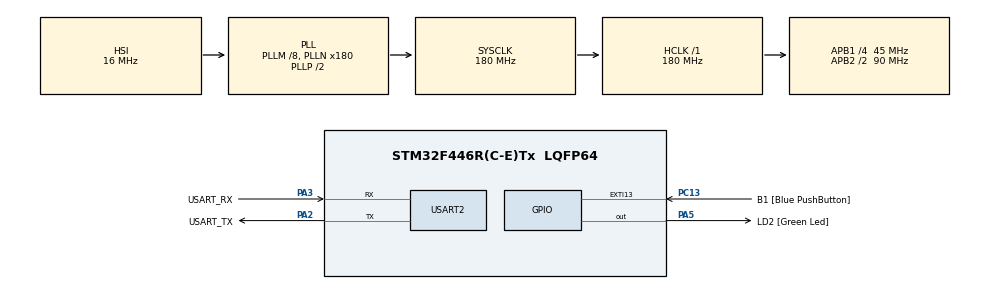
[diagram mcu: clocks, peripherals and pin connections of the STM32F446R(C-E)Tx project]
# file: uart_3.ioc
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Mcu.Family=STM32F4
Mcu.Name=STM32F446R(C-E)Tx
Mcu.Package=LQFP64
NVIC.PriorityGroup=NVIC_PRIORITYGROUP_0
NVIC.USART2_IRQn=true\:0\:0\:false\:false\:true\:true\:true\:true
PA13.GPIO_Label=TMS
PA13.Mode=Serial_Wire
PA13.Signal=SYS_JTMS-SWDIO
PA14.GPIO_Label=TCK
PA14.Mode=Serial_Wire
PA14.Signal=SYS_JTCK-SWCLK
PA2.GPIO_Label=USART_TX
PA2.Mode=Asynchronous
PA2.Signal=USART2_TX
PA3.GPIO_Label=USART_RX
PA3.Mode=Asynchronous
PA3.Signal=USART2_RX
PA5.GPIO_Label=LD2 [Green Led]
PA5.Signal=GPIO_Output
PB3.GPIO_Label=SWO
PB3.Signal=SYS_JTDO-SWO
PC13.GPIO_Label=B1 [Blue PushButton]
PC13.GPIO_ModeDefaultEXTI=GPIO_MODE_IT_FALLING
PC13.Signal=GPXTI13
PC14-OSC32_IN.Mode=LSE-External-Oscillator
PC14-OSC32_IN.Signal=RCC_OSC32_IN
PC15-OSC32_OUT.Mode=LSE-External-Oscillator
PC15-OSC32_OUT.Signal=RCC_OSC32_OUT
PH0-OSC_IN.Mode=HSE-External-Oscillator
PH0-OSC_IN.Signal=RCC_OSC_IN
PH1-OSC_OUT.Mode=HSE-External-Oscillator
PH1-OSC_OUT.Signal=RCC_OSC_OUT
ProjectManager.HeapSize=0x200
ProjectManager.StackSize=0x400
ProjectManager.TargetToolchain=STM32CubeIDE
RCC.48MHZClocksFreq_Value=84000000
RCC.AHBFreq_Value=180000000
RCC.APB1CLKDivider=RCC_HCLK_DIV4
RCC.APB1Freq_Value=45000000
RCC.APB1TimFreq_Value=90000000
RCC.APB2CLKDivider=RCC_HCLK_DIV2
RCC.APB2Freq_Value=90000000
RCC.APB2TimFreq_Value=180000000
RCC.CortexFreq_Value=180000000
RCC.FLatency-AdvancedSettings=FLASH_LATENCY_5
RCC.HCLKFreq_Value=180000000
RCC.HSE_VALUE=8000000
RCC.HSI_VALUE=16000000
RCC.PLLM=8
RCC.PLLN=180
RCC.SYSCLKFreq_VALUE=180000000
RCC.SYSCLKSource=RCC_SYSCLKSOURCE_PLLCLK
RCC.USBFreq_Value=180000000
RCC.VCOOutputFreq_Value=360000000
USART2.VirtualMode=VM_ASYNC
board=NUCLEO-F446RE

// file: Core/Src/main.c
/* USER CODE BEGIN Header */
/**
  ******************************************************************************
  * @file           : main.c
  * @brief          : Main program body
  ******************************************************************************
  * @attention
  *
  * Copyright (c) 2023 STMicroelectronics.
  * All rights reserved.
  *
  * This software is licensed under terms that can be found in the LICENSE file
  * in the root directory of this software component.
  * If no LICENSE file comes with this software, it is provided AS-IS.
  *
  ******************************************************************************
  */
/* USER CODE END Header */
#include "main.h"

UART_HandleTypeDef huart2;

void SystemClock_Config(void);
static void MX_GPIO_Init(void);
static void MX_USART2_UART_Init(void);

/* USER CODE BEGIN 0 */
int gUartReceived = 0;
//char buffer[256];
#define BUFF_SIZE  (256)
//uint16_t rcvLength;             /* 受信データ数 */
uint8_t rcvBuffer[2];   /* 受信バッファ */
uint8_t count =0;
//uint8_t sndBuffer[BUFF_SIZE];
//#define CHAR_CR  (0x0d)
/* USER CODE END 0 */

int main(void)
{

  /* MCU Configuration--------------------------------------------------------*/

  /* Reset of all peripherals, Initializes the Flash interface and the Systick. */
  HAL_Init();

  /* Configure the system clock */
  SystemClock_Config();

  /* Initialize all configured peripherals */
  MX_GPIO_Init();
  MX_USART2_UART_Init();
  /* USER CODE BEGIN 2 */
  HAL_UART_Receive_IT(&huart2, rcvBuffer, 2);

  HAL_GPIO_TogglePin(GPIOA,GPIO_PIN_5); //setup-check
  HAL_Delay(100);
  HAL_GPIO_TogglePin(GPIOA,GPIO_PIN_5);

  /* USER CODE END 2 */

  /* Infinite loop */
  /* USER CODE BEGIN WHILE */
  while (1){
	  HAL_UART_Receive_IT(&huart2, rcvBuffer, 2);
	  	while (gUartReceived  == 0)
	      {
	  		;
	      }
	  	//rcvBuffer[0] = '5'; //test code
	  	count = rcvBuffer[1] - '0';
	  	//count = 10; //test code

		for(uint8_t q = 0 ; q < count ; q++){
			HAL_GPIO_TogglePin(GPIOA,GPIO_PIN_5);
			HAL_Delay(100);
			HAL_GPIO_TogglePin(GPIOA,GPIO_PIN_5);
			HAL_Delay(100);
		}
		HAL_UART_Receive_IT(&huart2, rcvBuffer, 2);
	  	gUartReceived  = 0;

    /* USER CODE END WHILE */

    /* USER CODE BEGIN 3 */
	  	/*
	  	for (int i = 0;i < 256;i++){
	  		buffer[0] = clear_val; //バッファをクリア...?
	  	}
	  	*/
  }
  /* USER CODE END 3 */
}

void SystemClock_Config(void)
{
  RCC_OscInitTypeDef RCC_OscInitStruct = {0};
  RCC_ClkInitTypeDef RCC_ClkInitStruct = {0};

  /** Configure the main internal regulator output voltage
  */
  __HAL_RCC_PWR_CLK_ENABLE();
  __HAL_PWR_VOLTAGESCALING_CONFIG(PWR_REGULATOR_VOLTAGE_SCALE1);

  /** Initializes the RCC Oscillators according to the specified parameters
  * in the RCC_OscInitTypeDef structure.
  */
  RCC_OscInitStruct.OscillatorType = RCC_OSCILLATORTYPE_HSI;
  RCC_OscInitStruct.HSIState = RCC_HSI_ON;
  RCC_OscInitStruct.HSICalibrationValue = RCC_HSICALIBRATION_DEFAULT;
  RCC_OscInitStruct.PLL.PLLState = RCC_PLL_ON;
  RCC_OscInitStruct.PLL.PLLSource = RCC_PLLSOURCE_HSI;
  RCC_OscInitStruct.PLL.PLLM = 8;
  RCC_OscInitStruct.PLL.PLLN = 180;
  RCC_OscInitStruct.PLL.PLLP = RCC_PLLP_DIV2;
  RCC_OscInitStruct.PLL.PLLQ = 2;
  RCC_OscInitStruct.PLL.PLLR = 2;
  if (HAL_RCC_OscConfig(&RCC_OscInitStruct) != HAL_OK)
  {
    Error_Handler();
  }

  /** Activate the Over-Drive mode
  */
  if (HAL_PWREx_EnableOverDrive() != HAL_OK)
  {
    Error_Handler();
  }

  /** Initializes the CPU, AHB and APB buses clocks
  */
  RCC_ClkInitStruct.ClockType = RCC_CLOCKTYPE_HCLK|RCC_CLOCKTYPE_SYSCLK
                              |RCC_CLOCKTYPE_PCLK1|RCC_CLOCKTYPE_PCLK2;
  RCC_ClkInitStruct.SYSCLKSource = RCC_SYSCLKSOURCE_PLLCLK;
  RCC_ClkInitStruct.AHBCLKDivider = RCC_SYSCLK_DIV1;
  RCC_ClkInitStruct.APB1CLKDivider = RCC_HCLK_DIV4;
  RCC_ClkInitStruct.APB2CLKDivider = RCC_HCLK_DIV2;

  if (HAL_RCC_ClockConfig(&RCC_ClkInitStruct, FLASH_LATENCY_5) != HAL_OK)
  {
    Error_Handler();
  }
}

static void MX_USART2_UART_Init(void)
{

  huart2.Instance = USART2;
  huart2.Init.BaudRate = 115200;
  huart2.Init.WordLength = UART_WORDLENGTH_8B;
  huart2.Init.StopBits = UART_STOPBITS_1;
  huart2.Init.Parity = UART_PARITY_NONE;
  huart2.Init.Mode = UART_MODE_TX_RX;
  huart2.Init.HwFlowCtl = UART_HWCONTROL_NONE;
  huart2.Init.OverSampling = UART_OVERSAMPLING_16;
  if (HAL_UART_Init(&huart2) != HAL_OK)
  {
    Error_Handler();
  }

}

static void MX_GPIO_Init(void)
{
  GPIO_InitTypeDef GPIO_InitStruct = {0};

  /* GPIO Ports Clock Enable */
  __HAL_RCC_GPIOC_CLK_ENABLE();
  __HAL_RCC_GPIOH_CLK_ENABLE();
  __HAL_RCC_GPIOA_CLK_ENABLE();
  __HAL_RCC_GPIOB_CLK_ENABLE();

  /*Configure GPIO pin Output Level */
  HAL_GPIO_WritePin(LD2_GPIO_Port, LD2_Pin, GPIO_PIN_RESET);

  /*Configure GPIO pin : B1_Pin */
  GPIO_InitStruct.Pin = B1_Pin;
  GPIO_InitStruct.Mode = GPIO_MODE_IT_FALLING;
  GPIO_InitStruct.Pull = GPIO_NOPULL;
  HAL_GPIO_Init(B1_GPIO_Port, &GPIO_InitStruct);

  /*Configure GPIO pin : LD2_Pin */
  GPIO_InitStruct.Pin = LD2_Pin;
  GPIO_InitStruct.Mode = GPIO_MODE_OUTPUT_PP;
  GPIO_InitStruct.Pull = GPIO_NOPULL;
  GPIO_InitStruct.Speed = GPIO_SPEED_FREQ_LOW;
  HAL_GPIO_Init(LD2_GPIO_Port, &GPIO_InitStruct);

}

/* USER CODE BEGIN 4 */
void HAL_UART_RxCpltCallback(UART_HandleTypeDef *huart) //受け取ると飛ぶやつ
{
	  gUartReceived = 1;
	  HAL_UART_Receive_IT(&huart2, rcvBuffer, 2);

}
/* USER CODE END 4 */

void Error_Handler(void)
{
  __disable_irq();
  while (1)
  {
  }
}
